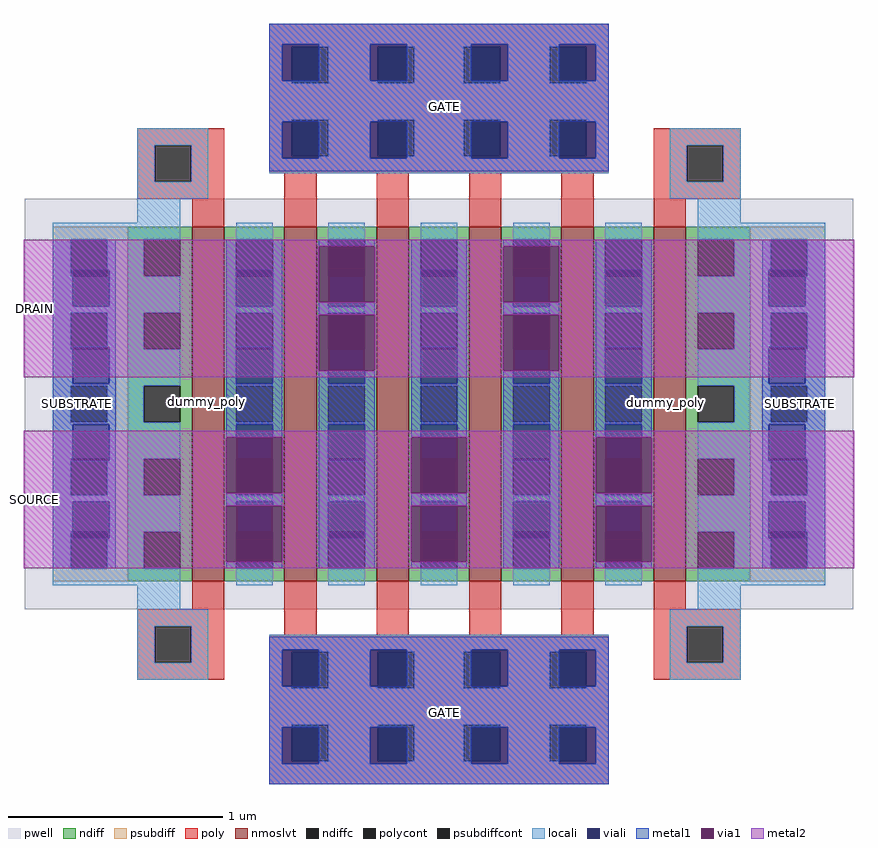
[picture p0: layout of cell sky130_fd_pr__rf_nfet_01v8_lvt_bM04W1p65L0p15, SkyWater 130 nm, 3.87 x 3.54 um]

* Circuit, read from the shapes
.subckt sky130_fd_pr__rf_nfet_01v8_lvt_bM04W1p65L0p15 DRAIN GATE SOURCE SUBSTRATE
XM1 SOURCE SUBSTRATE SUBSTRATE SUBSTRATE sky130_fd_pr__nfet_01v8_lvt w=1.65 l=0.15 m=2
XM2 DRAIN GATE SOURCE SUBSTRATE sky130_fd_pr__nfet_01v8_lvt w=1.65 l=0.15 m=4
.ends

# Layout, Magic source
magic
tech sky130A
magscale 1 2
<< pwell >>
rect 15 163 787 545
<< nmoslvt >>
rect 171 189 201 519
rect 257 189 287 519
rect 343 189 373 519
rect 429 189 459 519
rect 515 189 545 519
rect 601 189 631 519
<< ndiff >>
rect 111 507 171 519
rect 111 473 126 507
rect 160 473 171 507
rect 111 439 171 473
rect 111 405 126 439
rect 160 405 171 439
rect 111 371 171 405
rect 111 337 126 371
rect 160 337 171 371
rect 111 303 171 337
rect 111 269 126 303
rect 160 269 171 303
rect 111 235 171 269
rect 111 201 126 235
rect 160 201 171 235
rect 111 189 171 201
rect 201 507 257 519
rect 201 473 212 507
rect 246 473 257 507
rect 201 439 257 473
rect 201 405 212 439
rect 246 405 257 439
rect 201 371 257 405
rect 201 337 212 371
rect 246 337 257 371
rect 201 303 257 337
rect 201 269 212 303
rect 246 269 257 303
rect 201 235 257 269
rect 201 201 212 235
rect 246 201 257 235
rect 201 189 257 201
rect 287 507 343 519
rect 287 473 298 507
rect 332 473 343 507
rect 287 439 343 473
rect 287 405 298 439
rect 332 405 343 439
rect 287 371 343 405
rect 287 337 298 371
rect 332 337 343 371
rect 287 303 343 337
rect 287 269 298 303
rect 332 269 343 303
rect 287 235 343 269
rect 287 201 298 235
rect 332 201 343 235
rect 287 189 343 201
rect 373 507 429 519
rect 373 473 384 507
rect 418 473 429 507
rect 373 439 429 473
rect 373 405 384 439
rect 418 405 429 439
rect 373 371 429 405
rect 373 337 384 371
rect 418 337 429 371
rect 373 303 429 337
rect 373 269 384 303
rect 418 269 429 303
rect 373 235 429 269
rect 373 201 384 235
rect 418 201 429 235
rect 373 189 429 201
rect 459 507 515 519
rect 459 473 470 507
rect 504 473 515 507
rect 459 439 515 473
rect 459 405 470 439
rect 504 405 515 439
rect 459 371 515 405
rect 459 337 470 371
rect 504 337 515 371
rect 459 303 515 337
rect 459 269 470 303
rect 504 269 515 303
rect 459 235 515 269
rect 459 201 470 235
rect 504 201 515 235
rect 459 189 515 201
rect 545 507 601 519
rect 545 473 556 507
rect 590 473 601 507
rect 545 439 601 473
rect 545 405 556 439
rect 590 405 601 439
rect 545 371 601 405
rect 545 337 556 371
rect 590 337 601 371
rect 545 303 601 337
rect 545 269 556 303
rect 590 269 601 303
rect 545 235 601 269
rect 545 201 556 235
rect 590 201 601 235
rect 545 189 601 201
rect 631 507 691 519
rect 631 473 642 507
rect 676 473 691 507
rect 631 439 691 473
rect 631 405 642 439
rect 676 405 691 439
rect 631 371 691 405
rect 631 337 642 371
rect 676 337 691 371
rect 631 303 691 337
rect 631 269 642 303
rect 676 269 691 303
rect 631 235 691 269
rect 631 201 642 235
rect 676 201 691 235
rect 631 189 691 201
<< ndiffc >>
rect 126 473 160 507
rect 126 405 160 439
rect 126 337 160 371
rect 126 269 160 303
rect 126 201 160 235
rect 212 473 246 507
rect 212 405 246 439
rect 212 337 246 371
rect 212 269 246 303
rect 212 201 246 235
rect 298 473 332 507
rect 298 405 332 439
rect 298 337 332 371
rect 298 269 332 303
rect 298 201 332 235
rect 384 473 418 507
rect 384 405 418 439
rect 384 337 418 371
rect 384 269 418 303
rect 384 201 418 235
rect 470 473 504 507
rect 470 405 504 439
rect 470 337 504 371
rect 470 269 504 303
rect 470 201 504 235
rect 556 473 590 507
rect 556 405 590 439
rect 556 337 590 371
rect 556 269 590 303
rect 556 201 590 235
rect 642 473 676 507
rect 642 405 676 439
rect 642 337 676 371
rect 642 269 676 303
rect 642 201 676 235
<< psubdiff >>
rect 41 507 111 519
rect 41 473 58 507
rect 92 473 111 507
rect 41 439 111 473
rect 41 405 58 439
rect 92 405 111 439
rect 41 371 111 405
rect 41 337 58 371
rect 92 337 111 371
rect 41 303 111 337
rect 41 269 58 303
rect 92 269 111 303
rect 41 235 111 269
rect 41 201 58 235
rect 92 201 111 235
rect 41 189 111 201
rect 691 507 761 519
rect 691 473 710 507
rect 744 473 761 507
rect 691 439 761 473
rect 691 405 710 439
rect 744 405 761 439
rect 691 371 761 405
rect 691 337 710 371
rect 744 337 761 371
rect 691 303 761 337
rect 691 269 710 303
rect 744 269 761 303
rect 691 235 761 269
rect 691 201 710 235
rect 744 201 761 235
rect 691 189 761 201
<< psubdiffcont >>
rect 58 473 92 507
rect 58 405 92 439
rect 58 337 92 371
rect 58 269 92 303
rect 58 201 92 235
rect 710 473 744 507
rect 710 405 744 439
rect 710 337 744 371
rect 710 269 744 303
rect 710 201 744 235
<< poly >>
rect 243 687 559 708
rect 243 653 264 687
rect 298 653 344 687
rect 378 653 424 687
rect 458 653 504 687
rect 538 653 559 687
rect 243 619 559 653
rect 120 595 201 611
rect 120 561 136 595
rect 170 561 201 595
rect 243 585 264 619
rect 298 585 344 619
rect 378 585 424 619
rect 458 585 504 619
rect 538 585 559 619
rect 243 569 559 585
rect 601 595 682 611
rect 120 545 201 561
rect 171 519 201 545
rect 257 519 287 569
rect 343 519 373 569
rect 429 519 459 569
rect 515 519 545 569
rect 601 561 632 595
rect 666 561 682 595
rect 601 545 682 561
rect 601 519 631 545
rect 171 163 201 189
rect 120 147 201 163
rect 120 113 136 147
rect 170 113 201 147
rect 257 139 287 189
rect 343 139 373 189
rect 429 139 459 189
rect 515 139 545 189
rect 601 163 631 189
rect 601 147 682 163
rect 120 97 201 113
rect 243 123 559 139
rect 243 89 264 123
rect 298 89 344 123
rect 378 89 424 123
rect 458 89 504 123
rect 538 89 559 123
rect 601 113 632 147
rect 666 113 682 147
rect 601 97 682 113
rect 243 55 559 89
rect 243 21 264 55
rect 298 21 344 55
rect 378 21 424 55
rect 458 21 504 55
rect 538 21 559 55
rect 243 0 559 21
<< polycont >>
rect 264 653 298 687
rect 344 653 378 687
rect 424 653 458 687
rect 504 653 538 687
rect 136 561 170 595
rect 264 585 298 619
rect 344 585 378 619
rect 424 585 458 619
rect 504 585 538 619
rect 632 561 666 595
rect 136 113 170 147
rect 264 89 298 123
rect 344 89 378 123
rect 424 89 458 123
rect 504 89 538 123
rect 632 113 666 147
rect 264 21 298 55
rect 344 21 378 55
rect 424 21 458 55
rect 504 21 538 55
<< locali >>
rect 243 689 559 708
rect 243 655 255 689
rect 289 687 337 689
rect 371 687 431 689
rect 465 687 513 689
rect 298 655 337 687
rect 243 653 264 655
rect 298 653 344 655
rect 378 653 424 687
rect 465 655 504 687
rect 547 655 559 689
rect 458 653 504 655
rect 538 653 559 655
rect 243 619 559 653
rect 243 617 264 619
rect 298 617 344 619
rect 120 595 186 611
rect 120 561 136 595
rect 170 561 186 595
rect 243 583 255 617
rect 298 585 337 617
rect 378 585 424 619
rect 458 617 504 619
rect 538 617 559 619
rect 465 585 504 617
rect 289 583 337 585
rect 371 583 431 585
rect 465 583 513 585
rect 547 583 559 617
rect 243 569 559 583
rect 616 595 682 611
rect 120 545 186 561
rect 616 561 632 595
rect 666 561 682 595
rect 616 545 682 561
rect 120 523 160 545
rect 642 523 682 545
rect 41 507 160 523
rect 41 473 58 507
rect 92 479 126 507
rect 94 473 126 479
rect 41 445 60 473
rect 94 445 160 473
rect 41 439 160 445
rect 41 405 58 439
rect 92 407 126 439
rect 94 405 126 407
rect 41 373 60 405
rect 94 373 160 405
rect 41 371 160 373
rect 41 337 58 371
rect 92 337 126 371
rect 41 335 160 337
rect 41 303 60 335
rect 94 303 160 335
rect 41 269 58 303
rect 94 301 126 303
rect 92 269 126 301
rect 41 263 160 269
rect 41 235 60 263
rect 94 235 160 263
rect 41 201 58 235
rect 94 229 126 235
rect 92 201 126 229
rect 41 185 160 201
rect 212 507 246 523
rect 212 439 246 445
rect 212 371 246 373
rect 212 335 246 337
rect 212 263 246 269
rect 212 185 246 201
rect 298 507 332 523
rect 298 439 332 445
rect 298 371 332 373
rect 298 335 332 337
rect 298 263 332 269
rect 298 185 332 201
rect 384 507 418 523
rect 384 439 418 445
rect 384 371 418 373
rect 384 335 418 337
rect 384 263 418 269
rect 384 185 418 201
rect 470 507 504 523
rect 470 439 504 445
rect 470 371 504 373
rect 470 335 504 337
rect 470 263 504 269
rect 470 185 504 201
rect 556 507 590 523
rect 556 439 590 445
rect 556 371 590 373
rect 556 335 590 337
rect 556 263 590 269
rect 556 185 590 201
rect 642 507 761 523
rect 676 479 710 507
rect 676 473 708 479
rect 744 473 761 507
rect 642 445 708 473
rect 742 445 761 473
rect 642 439 761 445
rect 676 407 710 439
rect 676 405 708 407
rect 744 405 761 439
rect 642 373 708 405
rect 742 373 761 405
rect 642 371 761 373
rect 676 337 710 371
rect 744 337 761 371
rect 642 335 761 337
rect 642 303 708 335
rect 742 303 761 335
rect 676 301 708 303
rect 676 269 710 301
rect 744 269 761 303
rect 642 263 761 269
rect 642 235 708 263
rect 742 235 761 263
rect 676 229 708 235
rect 676 201 710 229
rect 744 201 761 235
rect 642 185 761 201
rect 120 163 160 185
rect 642 163 682 185
rect 120 147 186 163
rect 120 113 136 147
rect 170 113 186 147
rect 616 147 682 163
rect 120 97 186 113
rect 243 125 559 139
rect 243 91 255 125
rect 289 123 337 125
rect 371 123 431 125
rect 465 123 513 125
rect 298 91 337 123
rect 243 89 264 91
rect 298 89 344 91
rect 378 89 424 123
rect 465 91 504 123
rect 547 91 559 125
rect 616 113 632 147
rect 666 113 682 147
rect 616 97 682 113
rect 458 89 504 91
rect 538 89 559 91
rect 243 55 559 89
rect 243 53 264 55
rect 298 53 344 55
rect 243 19 255 53
rect 298 21 337 53
rect 378 21 424 55
rect 458 53 504 55
rect 538 53 559 55
rect 465 21 504 53
rect 289 19 337 21
rect 371 19 431 21
rect 465 19 513 21
rect 547 19 559 53
rect 243 0 559 19
<< viali >>
rect 255 687 289 689
rect 337 687 371 689
rect 431 687 465 689
rect 513 687 547 689
rect 255 655 264 687
rect 264 655 289 687
rect 337 655 344 687
rect 344 655 371 687
rect 431 655 458 687
rect 458 655 465 687
rect 513 655 538 687
rect 538 655 547 687
rect 255 585 264 617
rect 264 585 289 617
rect 337 585 344 617
rect 344 585 371 617
rect 431 585 458 617
rect 458 585 465 617
rect 513 585 538 617
rect 538 585 547 617
rect 255 583 289 585
rect 337 583 371 585
rect 431 583 465 585
rect 513 583 547 585
rect 60 473 92 479
rect 92 473 94 479
rect 60 445 94 473
rect 60 405 92 407
rect 92 405 94 407
rect 60 373 94 405
rect 60 303 94 335
rect 60 301 92 303
rect 92 301 94 303
rect 60 235 94 263
rect 60 229 92 235
rect 92 229 94 235
rect 212 473 246 479
rect 212 445 246 473
rect 212 405 246 407
rect 212 373 246 405
rect 212 303 246 335
rect 212 301 246 303
rect 212 235 246 263
rect 212 229 246 235
rect 298 473 332 479
rect 298 445 332 473
rect 298 405 332 407
rect 298 373 332 405
rect 298 303 332 335
rect 298 301 332 303
rect 298 235 332 263
rect 298 229 332 235
rect 384 473 418 479
rect 384 445 418 473
rect 384 405 418 407
rect 384 373 418 405
rect 384 303 418 335
rect 384 301 418 303
rect 384 235 418 263
rect 384 229 418 235
rect 470 473 504 479
rect 470 445 504 473
rect 470 405 504 407
rect 470 373 504 405
rect 470 303 504 335
rect 470 301 504 303
rect 470 235 504 263
rect 470 229 504 235
rect 556 473 590 479
rect 556 445 590 473
rect 556 405 590 407
rect 556 373 590 405
rect 556 303 590 335
rect 556 301 590 303
rect 556 235 590 263
rect 556 229 590 235
rect 708 473 710 479
rect 710 473 742 479
rect 708 445 742 473
rect 708 405 710 407
rect 710 405 742 407
rect 708 373 742 405
rect 708 303 742 335
rect 708 301 710 303
rect 710 301 742 303
rect 708 235 742 263
rect 708 229 710 235
rect 710 229 742 235
rect 255 123 289 125
rect 337 123 371 125
rect 431 123 465 125
rect 513 123 547 125
rect 255 91 264 123
rect 264 91 289 123
rect 337 91 344 123
rect 344 91 371 123
rect 431 91 458 123
rect 458 91 465 123
rect 513 91 538 123
rect 538 91 547 123
rect 255 21 264 53
rect 264 21 289 53
rect 337 21 344 53
rect 344 21 371 53
rect 431 21 458 53
rect 458 21 465 53
rect 513 21 538 53
rect 538 21 547 53
rect 255 19 289 21
rect 337 19 371 21
rect 431 19 465 21
rect 513 19 547 21
<< metal1 >>
rect 243 689 559 708
rect 243 655 255 689
rect 289 655 337 689
rect 371 655 431 689
rect 465 655 513 689
rect 547 655 559 689
rect 243 617 559 655
rect 243 583 255 617
rect 289 583 337 617
rect 371 583 431 617
rect 465 583 513 617
rect 547 583 559 617
rect 243 571 559 583
rect 41 479 100 507
rect 41 445 60 479
rect 94 445 100 479
rect 41 407 100 445
rect 41 373 60 407
rect 94 373 100 407
rect 41 335 100 373
rect 41 301 60 335
rect 94 301 100 335
rect 41 263 100 301
rect 41 229 60 263
rect 94 229 100 263
rect 41 201 100 229
rect 203 479 255 507
rect 203 445 212 479
rect 246 445 255 479
rect 203 407 255 445
rect 203 373 212 407
rect 246 373 255 407
rect 203 335 255 373
rect 203 323 212 335
rect 246 323 255 335
rect 203 263 255 271
rect 203 259 212 263
rect 246 259 255 263
rect 203 201 255 207
rect 289 501 341 507
rect 289 445 298 449
rect 332 445 341 449
rect 289 437 341 445
rect 289 373 298 385
rect 332 373 341 385
rect 289 335 341 373
rect 289 301 298 335
rect 332 301 341 335
rect 289 263 341 301
rect 289 229 298 263
rect 332 229 341 263
rect 289 201 341 229
rect 375 479 427 507
rect 375 445 384 479
rect 418 445 427 479
rect 375 407 427 445
rect 375 373 384 407
rect 418 373 427 407
rect 375 335 427 373
rect 375 323 384 335
rect 418 323 427 335
rect 375 263 427 271
rect 375 259 384 263
rect 418 259 427 263
rect 375 201 427 207
rect 461 501 513 507
rect 461 445 470 449
rect 504 445 513 449
rect 461 437 513 445
rect 461 373 470 385
rect 504 373 513 385
rect 461 335 513 373
rect 461 301 470 335
rect 504 301 513 335
rect 461 263 513 301
rect 461 229 470 263
rect 504 229 513 263
rect 461 201 513 229
rect 547 479 599 507
rect 547 445 556 479
rect 590 445 599 479
rect 547 407 599 445
rect 547 373 556 407
rect 590 373 599 407
rect 547 335 599 373
rect 547 323 556 335
rect 590 323 599 335
rect 547 263 599 271
rect 547 259 556 263
rect 590 259 599 263
rect 547 201 599 207
rect 702 479 761 507
rect 702 445 708 479
rect 742 445 761 479
rect 702 407 761 445
rect 702 373 708 407
rect 742 373 761 407
rect 702 335 761 373
rect 702 301 708 335
rect 742 301 761 335
rect 702 263 761 301
rect 702 229 708 263
rect 742 229 761 263
rect 702 201 761 229
rect 243 125 559 137
rect 243 91 255 125
rect 289 91 337 125
rect 371 91 431 125
rect 465 91 513 125
rect 547 91 559 125
rect 243 53 559 91
rect 243 19 255 53
rect 289 19 337 53
rect 371 19 431 53
rect 465 19 513 53
rect 547 19 559 53
rect 243 0 559 19
<< via1 >>
rect 203 301 212 323
rect 212 301 246 323
rect 246 301 255 323
rect 203 271 255 301
rect 203 229 212 259
rect 212 229 246 259
rect 246 229 255 259
rect 203 207 255 229
rect 289 479 341 501
rect 289 449 298 479
rect 298 449 332 479
rect 332 449 341 479
rect 289 407 341 437
rect 289 385 298 407
rect 298 385 332 407
rect 332 385 341 407
rect 375 301 384 323
rect 384 301 418 323
rect 418 301 427 323
rect 375 271 427 301
rect 375 229 384 259
rect 384 229 418 259
rect 418 229 427 259
rect 375 207 427 229
rect 461 479 513 501
rect 461 449 470 479
rect 470 449 504 479
rect 504 449 513 479
rect 461 407 513 437
rect 461 385 470 407
rect 470 385 504 407
rect 504 385 513 407
rect 547 301 556 323
rect 556 301 590 323
rect 590 301 599 323
rect 547 271 599 301
rect 547 229 556 259
rect 556 229 590 259
rect 590 229 599 259
rect 547 207 599 229
<< metal2 >>
rect 14 501 788 507
rect 14 449 289 501
rect 341 449 461 501
rect 513 449 788 501
rect 14 437 788 449
rect 14 385 289 437
rect 341 385 461 437
rect 513 385 788 437
rect 14 379 788 385
rect 14 323 788 329
rect 14 271 203 323
rect 255 271 375 323
rect 427 271 547 323
rect 599 271 788 323
rect 14 259 788 271
rect 14 207 203 259
rect 255 207 375 259
rect 427 207 547 259
rect 599 207 788 259
rect 14 201 788 207
<< labels >>
flabel comment s 184 356 184 356 0 FreeSans 180 90 0 0 dummy_poly
flabel comment s 612 355 612 355 0 FreeSans 180 90 0 0 dummy_poly
flabel metal1 s 301 606 511 656 0 FreeSans 200 0 0 0 GATE
port 2 nsew
flabel metal1 s 301 42 511 92 0 FreeSans 200 0 0 0 GATE
port 2 nsew
flabel metal1 s 715 339 761 369 0 FreeSans 200 90 0 0 SUBSTRATE
port 4 nsew
flabel metal1 s 41 339 87 369 0 FreeSans 200 90 0 0 SUBSTRATE
port 4 nsew
flabel metal2 s 14 201 35 329 7 FreeSans 300 180 0 0 SOURCE
port 3 nsew
flabel metal2 s 14 379 35 507 7 FreeSans 300 180 0 0 DRAIN
port 1 nsew
<< properties >>
string GDS_FILE $PDKPATH/libs.ref/sky130_fd_pr/gds/sky130_fd_pr.gds
string GDS_END 6428990
string GDS_START 6414066
<< end >>
